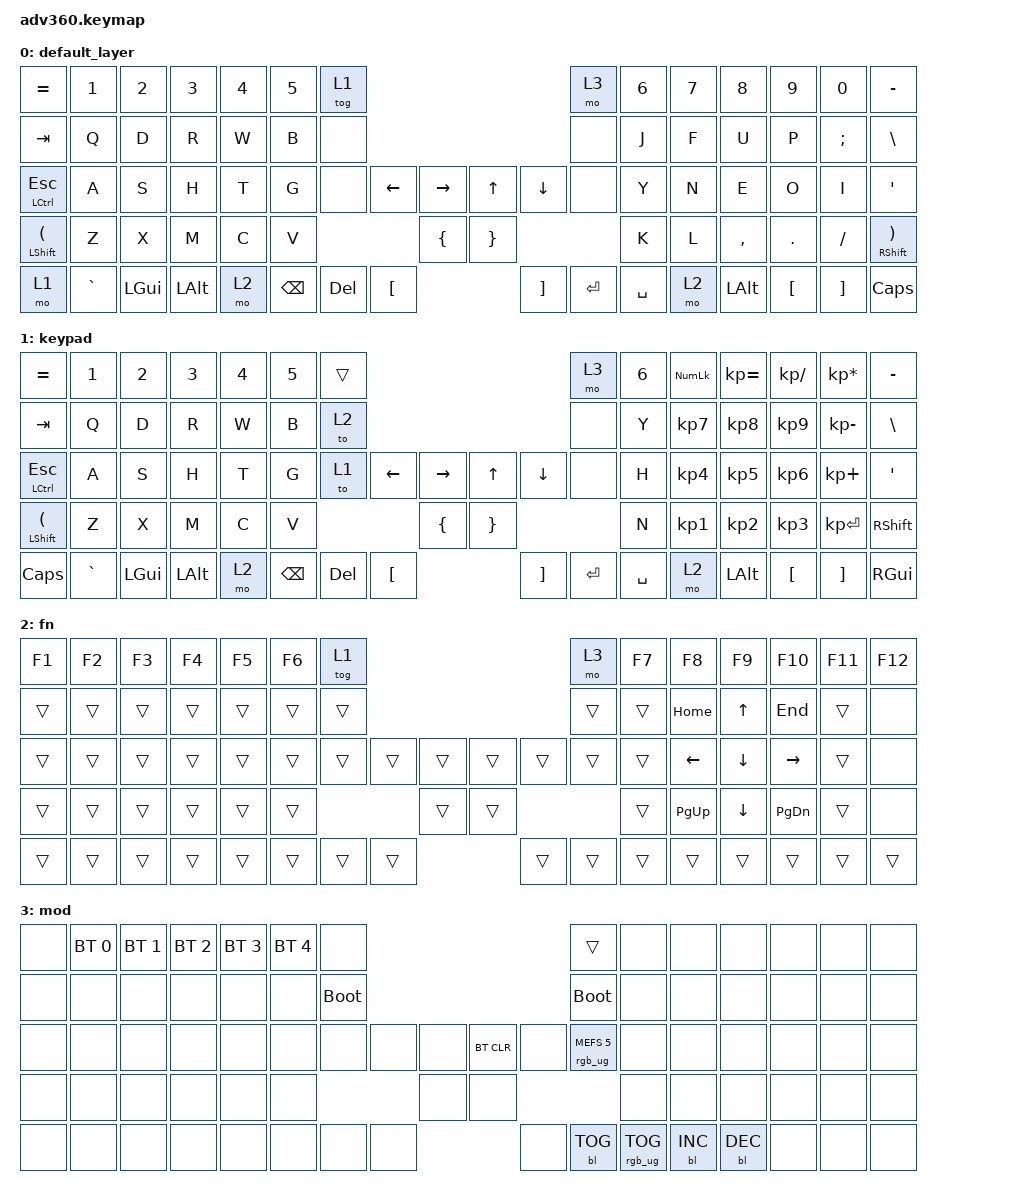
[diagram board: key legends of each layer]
#include <behaviors.dtsi>
#include <dt-bindings/zmk/keys.h>
#include <dt-bindings/zmk/bt.h>
#include <dt-bindings/zmk/rgb.h>
#include <dt-bindings/zmk/backlight.h>

/ {
    behaviors {
      #include "macros.dtsi"

      hm: homerow_mods {
          compatible = "zmk,behavior-hold-tap";
          label = "HOMEROW_MODS";
          #binding-cells = <2>;
          tapping-term-ms = <200>;
          quick_tap_ms = <175>;
          flavor = "tap-preferred";
          bindings = <&kp>, <&kp>;
      };
    };

  keymap {
    compatible = "zmk,keymap";

    default_layer {
      bindings = <
        &kp EQUAL       &kp N1     &kp N2    &kp N3    &kp N4      &kp N5  &tog 1                                                                              &mo 3   &kp N6  &kp N7    &kp N8     &kp N9    &kp N0    &kp MINUS
        &kp TAB         &kp Q      &kp D     &kp R     &kp W       &kp B   &none                                                                               &none   &kp J   &kp F     &kp U      &kp P     &kp SEMI  &kp BSLH
        &mt LCTRL ESC   &kp A      &kp S     &kp H     &kp T       &kp G   &none            &kp LEFT  &kp RIGHT &kp UP   &kp DOWN                              &none   &kp Y   &kp N     &kp E      &kp O     &kp I     &kp SQT
        &mt LSHFT LPAR  &kp Z      &kp X     &kp M     &kp C       &kp V                              &kp LBRC  &kp RBRC                                               &kp K   &kp L     &kp COMMA  &kp DOT   &kp FSLH  &mt RSHFT RPAR
        &mo 1           &kp GRAVE  &kp LGUI  &kp LALT  &mo 2                      &kp BSPC  &kp DEL   &kp LBKT  &kp RBKT &kp ENTER  &kp SPACE                                  &mo 2     &kp LALT   &kp LBKT  &kp RBKT  &kp CAPS
      >;
    };
    keypad {
      bindings = <
        &kp EQUAL          &kp N1     &kp N2    &kp N3    &kp N4      &kp N5  &trans                                                                           &mo 3   &kp N6  &kp KP_NUM  &kp KP_EQUAL  &kp KP_DIVIDE  &kp KP_MULTIPLY  &kp MINUS
        &kp TAB            &kp Q      &kp D     &kp R     &kp W       &kp B   &to 2                                                                            &none   &kp Y   &kp KP_N7   &kp KP_N8     &kp KP_N9      &kp KP_MINUS     &kp BSLH
        &mt LCTRL ESC      &kp A      &kp S     &kp H     &kp T       &kp G   &to 1           &kp LEFT &kp RIGHT  &kp UP   &kp DOWN                            &none   &kp H   &kp KP_N4   &kp KP_N5     &kp KP_N6      &kp KP_PLUS      &kp SQT
        &mt LSHFT LPAR     &kp Z      &kp X     &kp M     &kp C       &kp V                            &kp LBRC   &kp RBRC                                             &kp N   &kp KP_N1   &kp KP_N2     &kp KP_N3      &kp KP_ENTER     &kp RSHFT
        &kp CAPS        &kp GRAVE  &kp LGUI  &kp LALT  &mo 2                      &kp BSPC  &kp DEL   &kp LBKT  &kp RBKT &kp ENTER  &kp SPACE                                  &mo 2     &kp LALT   &kp LBKT  &kp RBKT  &kp RGUI
      >;
    };
    fn {
      bindings = <
        &kp F1 &kp F2 &kp F3 &kp F4 &kp F5 &kp F6 &tog 1                                           &mo 3  &kp F7 &kp F8    &kp F9   &kp F10    &kp F11 &kp F12
        &trans &trans &trans &trans &trans &trans  &trans                                          &trans &trans &kp HOME  &kp UP   &kp END    &trans  &none
        &trans &trans &trans &trans &trans &trans  &trans       &trans &trans &trans &trans        &trans &trans &kp LEFT  &kp DOWN &kp RIGHT  &trans  &none
        &trans &trans &trans &trans &trans &trans                      &trans &trans                      &trans &kp PG_UP &kp DOWN &kp PG_DN  &trans  &none
        &trans &trans &trans &trans &trans               &trans &trans &trans &trans &trans &trans               &trans    &trans   &trans     &trans  &trans
      >;
    };
    mod {
      bindings = <
        &none &bt BT_SEL 0 &bt BT_SEL 1 &bt BT_SEL 2 &bt BT_SEL 3 &bt BT_SEL 4 &none                                                                     &trans                 &none        &none        &none        &none &none &none
        &none &none        &none        &none        &none        &none        &bootloader                                                               &bootloader            &none        &none        &none        &none &none &none
        &none &none        &none        &none        &none        &none        &none                   &none &none &bt BT_CLR &none                      &rgb_ug RGB_MEFS_CMD 5 &none        &none        &none        &none &none &none
        &none &none        &none        &none        &none        &none                                      &none &none                                                        &none        &none        &none        &none &none &none
        &none &none        &none        &none        &none                                       &none &none &none &none      &bl BL_TOG &rgb_ug RGB_TOG                                     &bl BL_INC   &bl BL_DEC   &none &none &none
      >;
    };
  };
};
